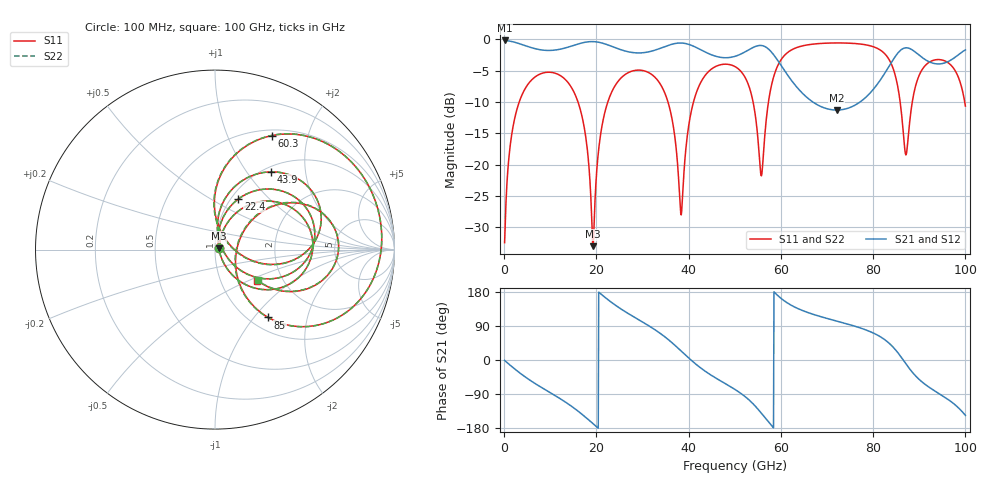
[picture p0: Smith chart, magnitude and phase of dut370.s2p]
! Touchstone file exported from HFSS 2026.1.0
!  File:  C:/ffzhzh/LocalFiles/Ansys_Project_Files/temp_train_TSV_RDL_370_1783713288_45496.aedt
!  Generated:  04:02:10 AM Jul 11, 2026
!  Design:  TSV_RDL
!  Project:  temp_train_TSV_RDL_370_1783713288_45496
! Variables:
!  h_bsmrdl = 2.75um
!  h_ox = 20um
!  h_rdl = 5um
!  h_sub = 82.59um
!  h_tmrdl = 2.64um
!  h_tsv = 82.59um
!  h_via = 3um
!  l_bsmrdl = 235.2um
!  l_sub = 2637.84um
!  l_tmrdl = 358.76um
!  m_sub = 200um
!  pitch = 52.46um
!  r_tsv = 12.87um
!  s_tmrdl = 10um
!  w_bsmrdl = 19.99um
!  w_sub = 500um
!  w_tmrdl = 12.41um
!  x_tsv_center1 = 364.965um
!  x_tsv_center2 = 620.155um
!  x_tsv_center3 = 991.325um
!  x_tsv_center4 = 1246.515um
!  x_tsv_center5 = 1617.685um
!  x_tsv_center6 = 1872.875um
# GHz S MA R 50.000000
! Terminal data exported
! Port[1] = TM_RDL1_1_T1
! Port[2] = TM_RDL5_1_T1
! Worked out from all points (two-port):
!   1000 points, 100 MHz to 100 GHz, reference 50 ohm
!   highest |S21| = -0.18 dB at 100 MHz (marker M1); lowest = -11.3 dB at 72.1 GHz (marker M2)
!   |S21| within 3 dB of the highest: start of sweep to 59.13 GHz; 84.4 GHz to 91.17 GHz (6.769 GHz wide, 7.71 % of centre) (the widest 2 of 3)
!   lowest |S11| = -33.0 dB at 19.3 GHz (marker M3), VSWR 1.05, Z = 52.1 + j0.789 ohm
!   |S11| at or under -10 dB: 16.01 GHz to 22.48 GHz (6.469 GHz wide, 33.6 % of centre); 35.51 GHz to 41.05 GHz (5.539 GHz wide, 14.5 % of centre); 53.97 GHz to 57.3 GHz (3.333 GHz wide, 5.99 % of centre) (the widest 3 of 6)
!   |S22| runs from -33.2 to -0.6 dB; largest |S21 - S12| = 9.3e-14
!   S11 on the Smith chart (normalised r, x): 100 MHz: 1.04, +0.02; 22.4 GHz: 1.08, +0.67; 43.9 GHz: 1.08, +1.30; 60.3 GHz: 0.57, +1.46; 85 GHz: 1.21, -1.18; 100 GHz: 1.49, -0.56
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0.1  0.02383 27.6  0.979 -1.1  0.979 -1.1  0.02383 27.6
! Gamma 0 0 0 0
! Port Impedance 50 0 50 0
1.8  0.189 63.6  0.9571 -18.8  0.9571 -18.8  0.189 63.6
5.1  0.4342 37.7  0.8763 -49.2  0.8763 -49.2  0.4342 37.7
10.8  0.5397 -3.3  0.8187 -92.1  0.8187 -92.1  0.5397 -3.4
16.8  0.2499 -49.6  0.9343 -142.5  0.9343 -142.5  0.2499 -49.7
19.3  0.02234 19.8  0.9585 -168.3  0.9585 -168.3  0.0219 19.9
22.4  0.31 65.2  0.9046 160.1  0.9046 160.1  0.31 65.3
33.4  0.4646 -14.3  0.8357 74.0  0.8357 74.0  0.4646 -14.4
38.4  0.03973 29.2  0.9341 23.4  0.9341 23.4  0.03861 29.4
40.5  0.2588 80.8  0.8982 0.1  0.8982 0.1  0.2587 81.0
43.9  0.5325 54.4  0.7818 -32.2  0.7818 -32.2  0.5324 54.5
50.1  0.6041 12.9  0.7323 -78.1  0.7323 -78.1  0.6041 12.9
55.8  0.08143 42.0  0.8921 -141.0  0.8921 -141.0  0.07887 42.1
60.3  0.7092 63.6  0.5986 160.0  0.5986 160.0  0.7089 63.8
66.7  0.9129 29.3  0.3203 121.7  0.3203 121.7  0.9128 29.4
72.1  0.9354 12.1  0.2725 102.7  0.2725 102.7  0.9353 12.2
83.4  0.6948 -37.7  0.6049 45.0  0.6049 45.0  0.6944 -37.8
85  0.4803 -51.9  0.7466 24.6  0.7466 24.6  0.4796 -52.1
87.1  0.1195 -8.7  0.8558 -10.0  0.8558 -10.0  0.1164 -8.5
90  0.5183 30.1  0.7459 -51.5  0.7459 -51.5  0.5178 30.5
95  0.6829 -3.5  0.6404 -94.1  0.6404 -94.1  0.6828 -3.2
100  0.2931 -36.1  0.8234 -146.0  0.8234 -146.0  0.2934 -35.8
